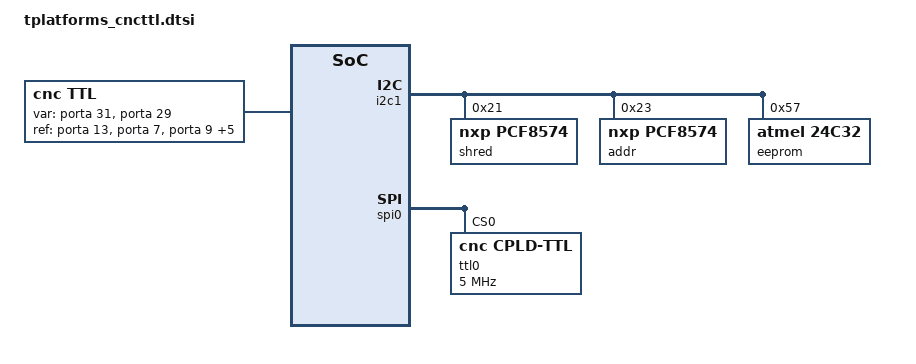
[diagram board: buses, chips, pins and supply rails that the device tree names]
/*
 * Baikal-T/T1 CNC TTL board device tree
 *
 * Copyright (C) 2018 T-platforms JSC
 *
 * This program is free software; you can redistribute it and/or
 * modify it under the terms of the GNU General Public License
 * as published by the Free Software Foundation; either version 2
 * of the License, or (at your option) any later version.
 */

/ {
	/* Reserve memory regions for CMA and NTB */
	reserved-memory {
		#address-cells = <2>;
		#size-cells = <2>;
		ranges;

		/* Reserve 16MB for CMA-based allocations */
		cma: buffer@0 {
			compatible = "shared-dma-pool";
			alloc-ranges = <0 0x01000000 0 0x05000000>;
			size = <0 0x1000000>;
			alignment = <0 0x1000000>;
			reusable; /* specific for CMA */
		};
	};

	/* CNC TTL board platform device */
	cnc {
		compatible = "cnc,ttl", "cnc,board";
		#address-cells = <1>;
		#size-cells = <0>;

		memory-region = <&cma>;
		board_info = <&shred>;
		board_addr = <&addr>;

		var-gpios = <&porta 31 GPIO_ACTIVE_HIGH>, /* First custom IRQ line */
			    <&porta 29 GPIO_ACTIVE_HIGH>; /* Second custom IRQ line */
		ref-gpios = <&porta 13 GPIO_ACTIVE_HIGH>, /* Port #0 reference */
			    <&porta  7 GPIO_ACTIVE_HIGH>, /* Port #1 reference */
			    <&porta  9 GPIO_ACTIVE_HIGH>, /* Port #2 reference */
			    <&porta 16 GPIO_ACTIVE_HIGH>, /* Port #3 reference */
			    <&porta 26 GPIO_ACTIVE_HIGH>, /* Port #4 reference */
			    <&porta  0 GPIO_ACTIVE_HIGH>, /* Port #5 reference */
			    <&porta 30 GPIO_ACTIVE_HIGH>, /* Port #6 reference */
			    <&porta  1 GPIO_ACTIVE_HIGH>; /* Port #7 reference */

		cpld@0 {
			reg = <0>;
			dev = <&ttl0>;
		};
	};
};

&usb {
	status = "disabled";
};

&sata {
	status = "disabled";
};

&xgmac {
	status = "disabled";
};

&gmac0 {
	status = "disabled";
};

&gmac1 {
	status = "disabled";
};

/* Board settings devices */
&i2c1 {
	status = "okay";

	shred: gpio@21 {
		compatible = "nxp,pcf8574";
		reg = <0x21>;
		gpio-controller;
		#gpio-cells = <2>;
		ngpios = <8>; /* Informative */
	};

	addr: gpio@23 {
		compatible = "nxp,pcf8574";
		reg = <0x23>;
		gpio-controller;
		#gpio-cells = <2>;
		ngpios = <8>; /* Informative */
	};

        eeprom@57 {
                compatible = "atmel,24c32";
                reg = <0x57>;
                pagesize = <16>;
        };
};

&uart1 {
	status = "disabled";
};

/* CPLD Altera Max V with TTL firmware */
&spi0 {
	status = "okay";

	num-cs = <1>;

	ttl0: alteraCPLD@0 {
		compatible = "cnc,cpld-ttl";
		reg = <0>;
		spi-max-frequency = <5000000>;
		spi-cpol;
	};
};

&spi1 {
	status = "disabled";
};
